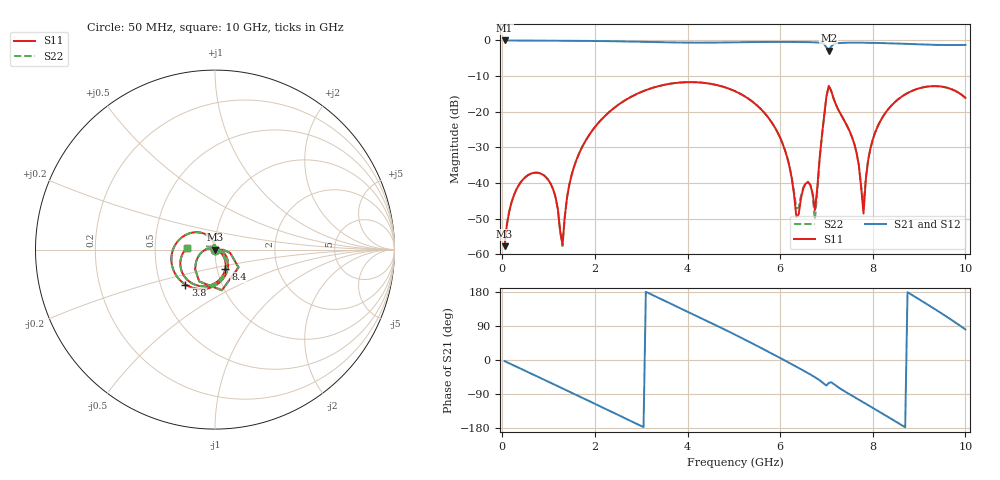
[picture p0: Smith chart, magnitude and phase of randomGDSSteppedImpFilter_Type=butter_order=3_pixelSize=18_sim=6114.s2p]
! freq	dB(S11)	phase(S11)	dB(S12)	phase(S12)
!  dB(S21)	phase(S21)	dB(S22)	phase(S22)
!S-par simulation data
#  GHz  S  DB  R 50
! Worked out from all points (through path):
!   200 points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, 50 MHz to 10 GHz, reference 50 ohm
!   highest |S21| = -0.01 dB at 50 MHz (marker M1); lowest = -2.9 dB at 7.05 GHz (marker M2)
!   group delay of S21, straight-line fit = 174 ps
!   lowest |S11| = -57.8 dB at 50 MHz (marker M3), VSWR 1.00, Z = 50 - j0.129 ohm
!   |S11| at or under -10 dB: start of sweep to end of sweep
!   |S22| runs from -57.8 to -11.7 dB; largest |S21 - S12| = 0
!   S11 on the Smith chart (normalised r, x): 50 MHz: 1.00, -0.00; 3.8 GHz: 0.67, -0.28; 8.4 GHz: 1.10, -0.24; 10 GHz: 0.73, +0.01
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0.05  -57.76 -86.8  -0.01 -2.9  -0.01 -2.9  -57.76 -86.7
0.3  -41.97 -103.3  -0.03 -17.3  -0.03 -17.3  -41.97 -103.3
0.75  -37.12 -132.6  -0.05 -43.2  -0.05 -43.2  -37.12 -132.4
1.1  -41.88 -156.2  -0.08 -63.4  -0.08 -63.4  -41.88 -155.4
1.3  -57.31 90.0  -0.09 -74.9  -0.09 -74.9  -57.77 90.8
1.45  -40.34 10.9  -0.10 -83.6  -0.10 -83.6  -40.36 9.9
1.75  -29.30 -9.6  -0.12 -101.0  -0.12 -101.0  -29.30 -10.0
3.4  -12.75 -107.3  -0.49 162.5  -0.49 162.5  -12.75 -107.3
3.8  -11.87 -130.3  -0.58 139.3  -0.58 139.3  -11.87 -130.3
5.05  -14.40 156.9  -0.53 65.4  -0.53 65.4  -14.39 157.0
5.95  -25.97 103.3  -0.42 8.6  -0.42 8.6  -25.94 104.3
6.35  -49.56 136.0  -0.44 -17.7  -0.44 -17.7  -47.21 141.5
6.7  -42.88 -121.2  -0.51 -41.7  -0.51 -41.7  -43.13 -132.6
6.75  -47.65 -82.4  -0.53 -45.4  -0.53 -45.4  -50.38 -97.4
7.05  -12.75 -80.5  -2.86 -60.8  -2.86 -60.8  -12.80 -80.2
7.6  -29.03 171.4  -0.63 -97.7  -0.63 -97.7  -29.02 169.5
7.8  -48.61 54.1  -0.65 -112.0  -0.65 -112.0  -46.54 55.5
7.95  -30.29 -25.4  -0.67 -122.7  -0.67 -122.7  -30.24 -23.0
8.35  -19.05 -57.9  -0.80 -151.7  -0.80 -151.7  -19.05 -57.3
8.4  -18.32 -61.7  -0.82 -155.4  -0.82 -155.4  -18.32 -61.1
9.15  -13.01 -117.3  -1.18 148.9  -1.18 148.9  -13.01 -117.0
10  -16.13 176.4  -1.27 80.7  -1.27 80.7  -16.12 177.3
